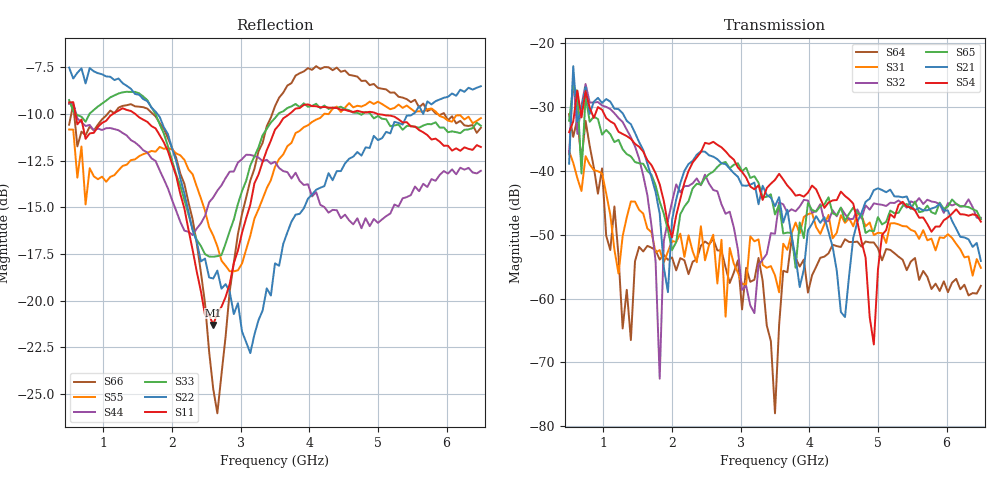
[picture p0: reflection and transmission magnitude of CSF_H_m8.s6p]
!Keysight Technologies,M9804A,MY58100912,A.14.10.03
!Date: Thursday, April 27, 2023 10:28:33
!Correction: S11(C  6-Port  )
!S12(C  6-Port  )
!S13(C  6-Port  )
!S14(C  6-Port  )
!S15(C  6-Port  )
!S16(C  6-Port  )
!S21(C  6-Port  )
!S22(C  6-Port  )
!S23(C  6-Port  )
!S24(C  6-Port  )
!S25(C  6-Port  )
!S26(C  6-Port  )
!S31(C  6-Port  )
!S32(C  6-Port  )
!S33(C  6-Port  )
!S34(C  6-Port  )
!S35(C  6-Port  )
!S36(C  6-Port  )
!S41(C  6-Port  )
!S42(C  6-Port  )
!S43(C  6-Port  )
!S44(C  6-Port  )
!S45(C  6-Port  )
!S46(C  6-Port  )
!S51(C  6-Port  )
!S52(C  6-Port  )
!S53(C  6-Port  )
!S54(C  6-Port  )
!S55(C  6-Port  )
!S56(C  6-Port  )
!S61(C  6-Port  )
!S62(C  6-Port  )
!S63(C  6-Port  )
!S64(C  6-Port  )
!S65(C  6-Port  )
!S66(C  6-Port  )
!S6P File: Measurement: :
# Hz S  RI  R 50
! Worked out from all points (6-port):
!   101 points, 500 MHz to 6.5 GHz, reference 50 ohm
!   strongest paths, dB at 500 MHz, 2 GHz, 3.5 GHz, 5 GHz, 6.5 GHz:
!     S54: -34.0, -50.4, -41.4, -55.5, -48.0
!     S21: -38.9, -47.7, -45.5, -42.8, -54.1
!     S65: -32.2, -52.4, -46.8, -47.3, -47.6
!     S32: -37.4, -44.9, -49.9, -45.2, -47.4
!     S31: -37.0, -51.0, -56.4, -49.7, -55.2
!     S64: -31.1, -53.6, -78.0, -52.1, -58.0
!   lowest |S11| = -21.3 dB at 2.6 GHz (marker M1), VSWR 1.19, Z = 42.4 + j2.3 ohm
!   |S11| at or under -10 dB: 592.1 MHz to 1.135 GHz (543.1 MHz wide, 62.9 % of centre); 1.466 GHz to 3.709 GHz (2.242 GHz wide, 86.7 % of centre); 4.996 GHz to end of sweep
